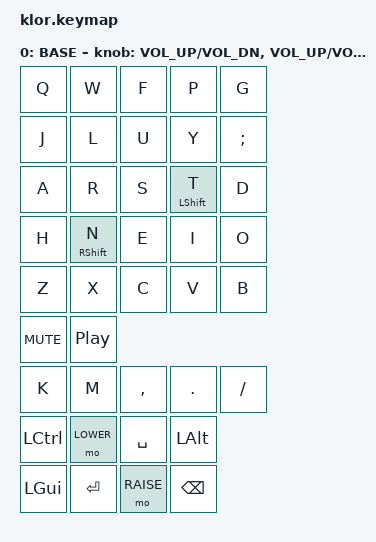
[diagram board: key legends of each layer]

//                               █         █    █            ▄▄▄▀▀▀▀▀▀▄▄▄        █▀▀▀▀▀▀▀▀▀▀█
//                               █        █     █          ▄▀            ▀▄      █          █
//                               █       █      █        ▄▀                ▀▄    █          █
//                               █      █       █        █                  █    █          █
//                               █     █        █       █                    █   █          █
//                               █    █         █       █                    █   █▄▄▄▄▄▄▄▄▄▄█
//                               █   █ █        █       █                    █   █      █
//                               █  █   █       █        █                  █    █       █
//                               █ █     █      █        ▀▄                ▄▀    █        █
//                               ██       █     █          ▀▄            ▄▀      █         █
//                               █         █    █▄▄▄▄▄▄▄▄    ▀▀▀▄▄▄▄▄▄▀▀▀        █          █
//
// ▄▄▄▄▄▄▄▄▄▄▄▄▄▄▄▄▄▄▄▄▄▄▄▄▄▄▄▄▄▄▄▄▄▄▄▄▄▄▄▄▄▄▄▄▄▄▄▄▄▄▄▄▄▄▄▄▄▄▄▄▄▄▄▄▄▄▄▄▄▄▄▄▄▄▄▄▄▄▄▄▄▄▄▄▄▄▄▄▄▄▄▄▄▄▄▄▄▄▄▄▄▄▄▄▄▄▄▄▄▄▄▄▄▄▄▄▄▄▄▄▄▄▄▄▄
       
#include <behaviors.dtsi>
#include <dt-bindings/zmk/keys.h>
#include <dt-bindings/zmk/bt.h>
#include <dt-bindings/zmk/outputs.h>
#include <dt-bindings/zmk/ext_power.h>
#include <dt-bindings/zmk/rgb.h>


#define BASE   0
#define LOWER  1
#define RAISE  2
#define ADJUST 3


/ {
    behaviors {
        hm: homerow_mods {
            compatible = "zmk,behavior-hold-tap";
            label = "HOMEROW_MODS";
            #binding-cells = <2>;
            tapping-term-ms = <150>;
            quick_tap_ms = <0>;
            flavor = "tap-preferred";
            bindings = <&kp>, <&kp>;
        };

    };

     combos {
            compatible = "zmk,combos";
            combo_esc {
                timeout-ms = <50>;
                key-positions = <0 1>;
                bindings = <&kp ESC>;
            };
    };



        keymap {
                compatible = "zmk,keymap";
// ▄▄▄▄▄▄▄▄▄▄▄▄▄▄▄▄▄▄▄▄▄▄▄▄▄▄▄▄▄▄▄▄▄▄▄▄▄▄▄▄▄▄▄▄▄▄▄▄▄▄▄▄▄▄▄▄▄▄▄▄▄▄▄▄▄▄▄▄▄▄▄▄▄▄▄▄▄▄▄▄▄▄▄▄▄▄▄▄▄▄▄▄▄▄▄▄▄▄▄▄▄▄▄▄▄▄▄▄▄▄▄▄▄▄▄▄▄▄▄▄▄▄▄▄▄▄▄▄▄▄▄▄▄▄▄▄▄▄▄▄▄▄


            base_layer {
                label = "BASE";

                bindings = <
                    &kp Q     &kp W     &kp F     &kp P       &kp G
                    &kp J     &kp L     &kp U     &kp Y       &kp SEMI

                    &kp A     &kp R     &kp S     &hm LSHFT T &kp D
                    &kp H     &hm RSHFT N &kp E   &kp I       &kp O

                    &kp Z     &kp X     &kp C     &kp V       &kp B
                    &kp C_MUTE &kp C_PP
                    &kp K     &kp M     &kp COMMA &kp DOT     &kp FSLH

                    &kp LCTRL &mo LOWER &kp SPACE &kp LALT
                    &kp LGUI  &kp RET   &mo RAISE &kp BSPC
                >;

                sensor-bindings = <
                    &inc_dec_kp C_VOL_UP C_VOL_DN
                    &inc_dec_kp C_VOL_UP C_VOL_DN
                >;
            };
        };
};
